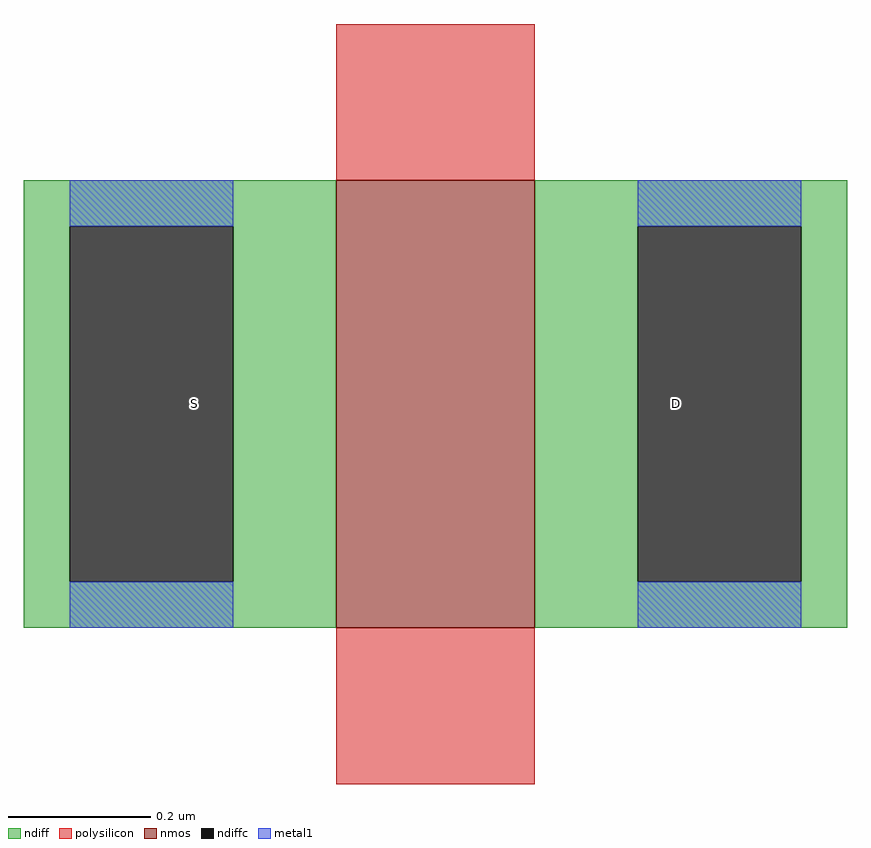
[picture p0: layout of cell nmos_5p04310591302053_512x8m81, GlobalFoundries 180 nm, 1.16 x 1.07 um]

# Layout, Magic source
magic
tech gf180mcuD
magscale 1 10
<< nmos >>
rect 0 0 56 126
<< ndiff >>
rect -88 113 0 126
rect -88 13 -75 113
rect -29 13 0 113
rect -88 0 0 13
rect 56 113 144 126
rect 56 13 85 113
rect 131 13 144 113
rect 56 0 144 13
<< ndiffc >>
rect -75 13 -29 113
rect 85 13 131 113
<< polysilicon >>
rect 0 126 56 170
rect 0 -44 56 0
<< metal1 >>
rect -75 113 -29 126
rect -75 0 -29 13
rect 85 113 131 126
rect 85 0 131 13
<< labels >>
flabel ndiffc -40 63 -40 63 0 FreeSans 93 0 0 0 S
flabel ndiffc 96 63 96 63 0 FreeSans 93 0 0 0 D
<< end >>
